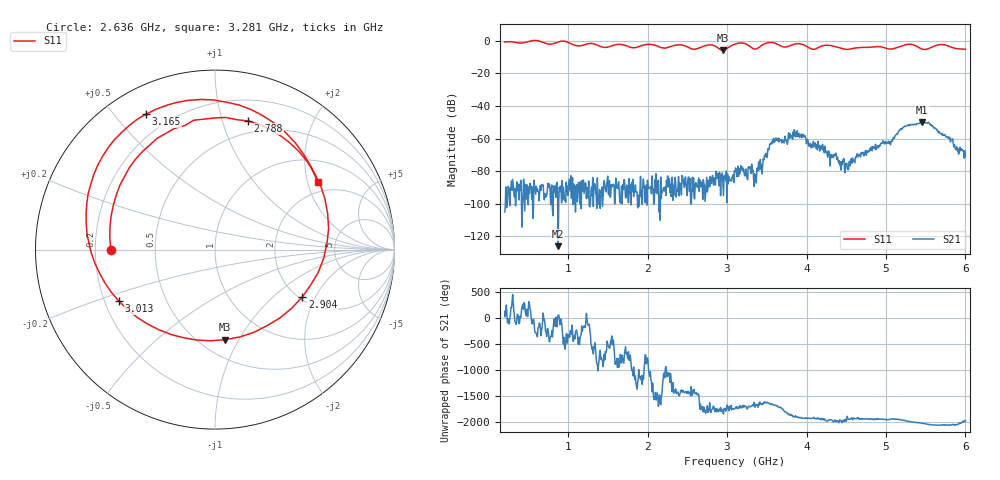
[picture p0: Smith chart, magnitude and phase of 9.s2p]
! NanoVNA-App by OneOfEleven et al v1.1.209 (+OD15)
! Date: 2024-07-30 15:24:21
! Start: 200MHz Stop: 6GHz Points: 801
! S-Parameter data: F S11 S21 S12 S22
# Hz S RI R 50
!  Frequency  S11_Real  S11_Imag  S21_Real  S21_Imag  S12_Real  S12_Imag  S22_Real  S22_Imag
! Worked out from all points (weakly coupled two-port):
!   801 points, 200 MHz to 6 GHz, reference 50 ohm
!   highest |S21| = -49.89 dB at 5.456 GHz (marker M1); lowest = -125.9 dB at 874.2 MHz (marker M2)
!   lowest |S11| = -5.9 dB at 2.948 GHz (marker M3), VSWR 3.04, Z = 32.6 - j44 ohm
!   |S11| at or under -10 dB: nowhere
!   S12 and S22 are empty: the file has one direction only
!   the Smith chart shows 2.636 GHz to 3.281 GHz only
!   S11 on the Smith chart (normalised r, x): 2.636 GHz: 0.27, -0.00; 2.788 GHz: 0.38, +1.21; 2.904 GHz: 2.08, -1.58; 3.013 GHz: 0.26, -0.24; 3.165 GHz: 0.11, +0.61; 3.281 GHz: 1.63, +2.32
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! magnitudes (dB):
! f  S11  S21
! 200 MHz  -0.8  -105.0
! 874.2 MHz  -0.8  -125.9
! 1.171 GHz  -3.0  -85.9
! 2.136 GHz  -3.6  -85.5
! 2.636 GHz  -4.7  -87.0
! 2.788 GHz  -2.6  -83.3
! 2.904 GHz  -5.1  -80.7
! 2.948 GHz  -5.9  -88.3
! 3.013 GHz  -4.3  -87.8
! 3.1 GHz  -2.1  -80.3
! 3.165 GHz  -1.4  -80.4
! 3.281 GHz  -3.3  -77.5
! 3.419 GHz  -3.5  -72.8
! 3.615 GHz  -1.8  -59.6
! 3.876 GHz  -1.9  -58.7
! 4.072 GHz  -5.2  -63.6
! 4.506 GHz  -5.4  -75.1
! 5.036 GHz  -5.1  -61.7
! 5.239 GHz  -2.7  -52.5
! 5.456 GHz  -5.2  -49.9
! 5.811 GHz  -3.8  -62.1
! 6 GHz  -5.3  -70.9
